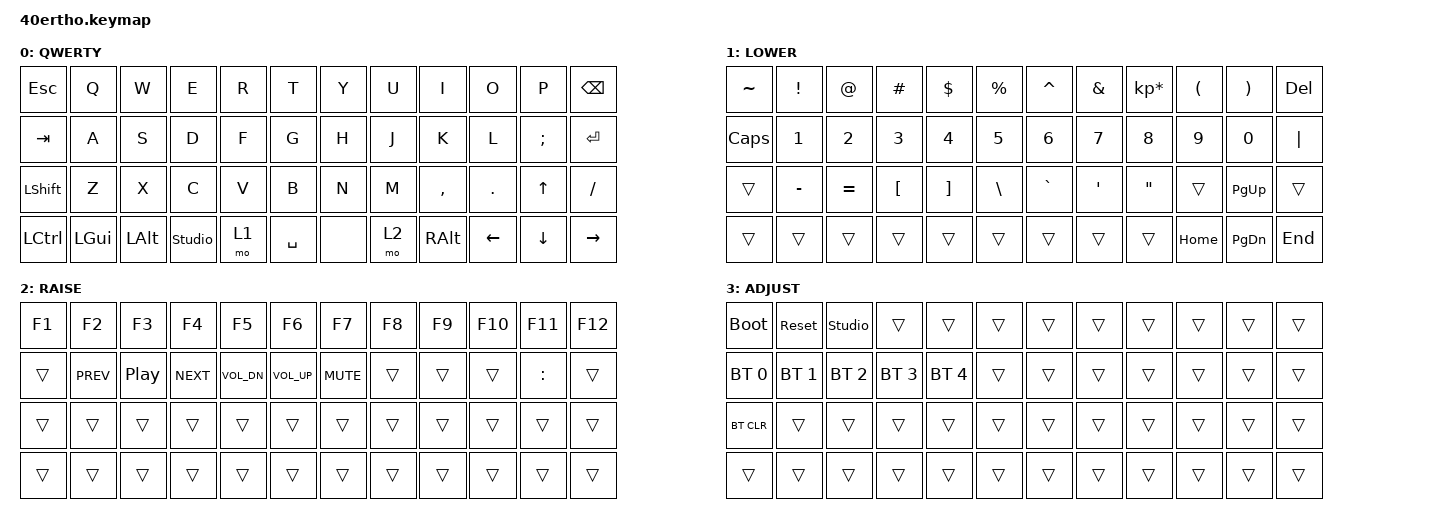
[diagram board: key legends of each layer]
#include <behaviors.dtsi>
#include <dt-bindings/zmk/keys.h>
#include <dt-bindings/zmk/bt.h>
#include <dt-bindings/zmk/outputs.h>

/ {
    keymap {
        compatible = "zmk,keymap";

        default_layer {
            label = "QWERTY";
// -------------------------------------------------------------------------------------------------
// | ESC |  Q  |  W  |  E  |  R  |  T  |  Y  |  U   |  I  |  O  |  P  | BKSP |
// | TAB |  A  |  S  |  D  |  F  |  G  |  H  |  J   |  K  |  L  |  ;  | ENT  |
// | SHFT|  Z  |  X  |  C  |  V  |  B  |  N  |  M   |  ,  |  .  |  UP |  ?   |
// | CTRL| WIN | ALT |CTRLSHFT| LWR | SPC |     | RSE  | FN  | LFT | DWN | RGT  |
            bindings = <
   &kp ESC   &kp Q    &kp W    &kp E    &kp R    &kp T    &kp Y     &kp U    &kp I     &kp O    &kp P     &kp BSPC
   &kp TAB   &kp A    &kp S    &kp D    &kp F    &kp G    &kp H     &kp J    &kp K     &kp L    &kp SEMI  &kp RET
   &kp LSHFT &kp Z    &kp X    &kp C    &kp V    &kp B    &kp N     &kp M    &kp COMMA &kp DOT  &kp UP    &kp FSLH
   &kp LCTRL &kp LGUI &kp LALT &studio_unlock &mo 1 &kp SPACE &none &mo 2    &kp RALT  &kp LEFT &kp DOWN  &kp RIGHT
            >;
        };

        lower_layer {
            label = "LOWER";
// -------------------------------------------------------------------------------------------------
// |  ~  |  !  |  @  |  #  |  $  |  %  |  ^  |  &  |  *  |  (  |  )  | DEL |
// | CAPS|  1  |  2  |  3  |  4  |  5  |  6  |  7  |  8  |  9  |  0  |  |  |
// |     |  -  |  =  |  [  |  ]  |  \  |  `  |  '  |  "  |     | PGUP|     |
// |     |     |     |     |     |     |     |     |     | HOME| PGDN| END |
            bindings = <
   &kp TILDE &kp EXCL  &kp AT    &kp HASH &kp DLLR &kp PRCNT &kp CARET &kp AMPS  &kp KP_MULTIPLY &kp LPAR &kp RPAR &kp DEL
   &kp CAPS  &kp N1    &kp N2    &kp N3   &kp N4   &kp N5    &kp N6    &kp N7    &kp N8    &kp N9   &kp N0   &kp PIPE
   &trans    &kp MINUS &kp EQUAL &kp LBKT &kp RBKT &kp BSLH  &kp GRAVE &kp APOS  &kp DQT   &trans   &kp PG_UP &trans
   &trans    &trans    &trans    &trans   &trans   &trans    &trans    &trans    &trans    &kp HOME &kp PG_DN &kp END
            >;
        };

        raise_layer {
            label = "RAISE";
// -------------------------------------------------------------------------------------------------
// | F1  | F2  | F3  | F4  | F5  | F6  | F7  | F8  | F9  | F10 | F11 | F12 |
// |     | PREV| PLAY| NEXT| VOL-| VOL+| MUTE|     |     |     | COLN|     |
// |     |     |     |     |     |     |     |     |     |     |     |     |
// |     |     |     |     |     |     |     |     |     |     |     |     |
            bindings = <
   &kp F1 &kp F2 &kp F3 &kp F4 &kp F5 &kp F6   &kp F7 &kp F8 &kp F9 &kp F10 &kp F11 &kp F12
   &trans &kp C_PREV &kp C_PLAY_PAUSE &kp C_NEXT &kp C_VOL_DN &kp C_VOL_UP   &kp C_MUTE &trans &trans &trans &kp COLON &trans
   &trans &trans &trans &trans &trans &trans   &trans &trans &trans &trans &trans &trans
   &trans &trans &trans &trans &trans &trans   &trans &trans &trans &trans &trans &trans
            >;
        };

        adjust_layer {
            label = "ADJUST";
// -------------------------------------------------------------------------------------------------
// |BOOTL| RST |UNLCK|     |     |     |     |     |     |     |     |     |
// | BT1 | BT2 | BT3 | BT4 | BT5 |     |     |     |     |     |     |     |
// |BTCLR|     |     |     |     |     |     |     |     |     |     |     |
// |     |     |     |     |     |     |     |     |     |     |     |     |
            bindings = <
   &bootloader &sys_reset &studio_unlock &trans &trans &trans   &trans &trans &trans &trans &trans &trans
   &bt BT_SEL 0 &bt BT_SEL 1 &bt BT_SEL 2 &bt BT_SEL 3 &bt BT_SEL 4 &trans   &trans &trans &trans &trans &trans &trans
   &bt BT_CLR &trans &trans &trans &trans &trans   &trans &trans &trans &trans &trans &trans
   &trans &trans &trans &trans &trans &trans   &trans &trans &trans &trans &trans &trans
            >;
        };
    };

    conditional_layers {
        compatible = "zmk,conditional-layers";
        tri_layer {
            if-layers = <1 2>;
            then-layer = <3>;
        };
    };
};
